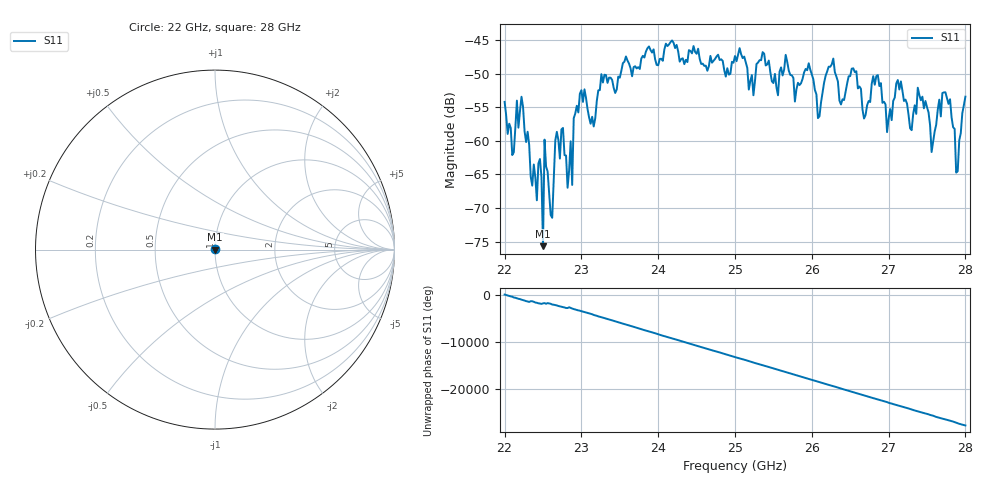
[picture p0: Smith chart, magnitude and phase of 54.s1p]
#  HZ  S  RI  R  50.00
! Rohde & Schwarz ZVA40 4Ports - Version 3.90 - 1145.1110k42 SN: 100403
! Date: 2023-10-04 06:28:31
! Measurement: S12
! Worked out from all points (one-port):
!   301 points, 22 GHz to 28 GHz, reference 50 ohm
!   lowest |S11| = -75.7 dB at 22.5 GHz (marker M1), VSWR 1.00, Z = 50 + j0.0161 ohm
!   |S11| at or under -10 dB: start of sweep to end of sweep
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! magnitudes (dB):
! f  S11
! 22 GHz  -54.2
! 22.1 GHz  -62.1
! 22.22 GHz  -53.4
! 22.42 GHz  -68.8
! 22.46 GHz  -62.7
! 22.5 GHz  -75.7
! 22.52 GHz  -59.8
! 22.62 GHz  -71.5
! 22.66 GHz  -59.9
! 22.76 GHz  -58.1
! 22.88 GHz  -66.6
! 22.9 GHz  -56.6
! 23 GHz  -52.4
! 23.16 GHz  -57.8
! 23.5 GHz  -50.6
! 24.26 GHz  -46.7
! 25 GHz  -47.3
! 25.76 GHz  -50.6
! 25.96 GHz  -48.4
! 26.08 GHz  -56.6
! 26.28 GHz  -47.7
! 26.5 GHz  -50.3
! 27.26 GHz  -56.1
! 27.38 GHz  -52.1
! 27.56 GHz  -61.7
! 27.74 GHz  -52.7
! 27.88 GHz  -64.7
! 28 GHz  -53.4
